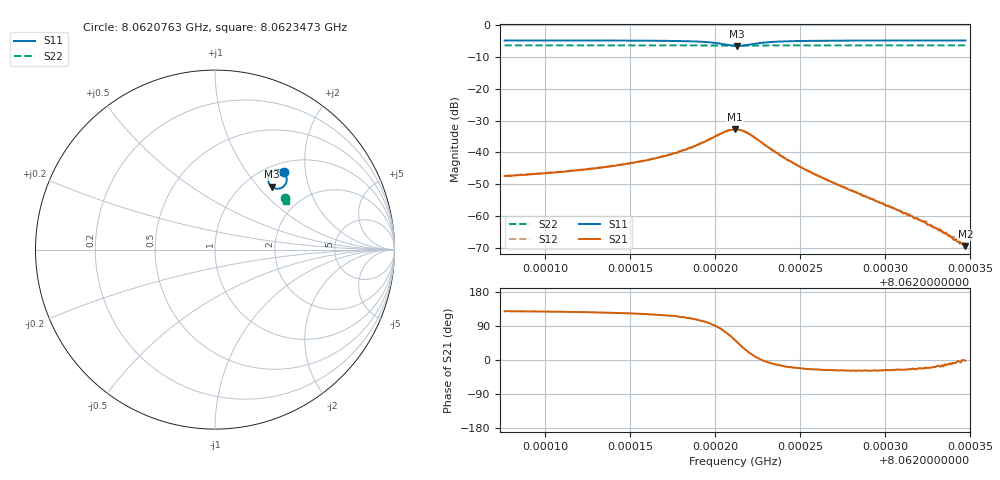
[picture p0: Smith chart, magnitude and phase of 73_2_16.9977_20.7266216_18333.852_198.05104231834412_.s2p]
#  HZ  S  RI  R  50.00
! Rohde & Schwarz Vector Network Analyzer
! Rohde-Schwarz,ZNB20-2Port,1311601062101988,3.16
! Created: UTC 3/20/2024, 10:55:18 PM
! freq[Hz]  re:S11  im:S11  re:S21  im:S21  re:S12  im:S12  re:S22  im:S22
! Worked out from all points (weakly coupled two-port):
!   401 points, 8.0620763 GHz to 8.0623473 GHz, reference 50 ohm
!   highest |S21| = -32.77 dB at 8.0622118 GHz (marker M1); lowest = -69.5 dB at 8.0623473 GHz (marker M2)
!   lowest |S11| = -6.5 dB at 8.0622132 GHz (marker M3), VSWR 2.78, Z = 65.7 + j59.2 ohm
!   |S11| at or under -10 dB: nowhere
!   |S22| runs from -6.4 to -6.3 dB; largest |S21 - S12| = 0.0017
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8.06207629e9  0.3821 0.4301  -0.00265 0.00333  -0.00247 0.00349  0.3883 0.2858
8.06212169e9  0.3877 0.4238  -0.00313 0.00429  -0.00293 0.00452  0.3898 0.2834
8.06215015e9  0.3925 0.4167  -0.00367 0.00564  -0.00338 0.00589  0.3909 0.2817
8.06216709e9  0.3962 0.4087  -0.00406 0.00727  -0.00362 0.00761  0.3914 0.2806
8.06217793e9  0.3986 0.3999  -0.00415 0.009  -0.00364 0.00964  0.3917 0.2797
8.0621847e9  0.3995 0.3916  -0.00417 0.011  -0.00342 0.0112  0.3918 0.279
8.0621969e9  0.3935 0.3663  -0.00184 0.0159  -0.000856 0.0163  0.3916 0.2775
8.06220571e9  0.3646 0.3416  0.00534 0.0202  0.0067 0.0201  0.3903 0.2764
8.0622118e9  0.3236 0.3449  0.0139 0.0183  0.0153 0.0174  0.3888 0.277
8.06221316e9  0.315 0.3507  0.0157 0.0167  0.0171 0.0157  0.3885 0.2773
8.06221587e9  0.302 0.3667  0.0181 0.0128  0.019 0.0116  0.3883 0.278
8.06221926e9  0.2963 0.3897  0.0187 0.00773  0.0192 0.00646  0.3886 0.279
8.06222874e9  0.3147 0.4299  0.0134 -0.000605  0.0135 -0.00129  0.3901 0.28
8.06224297e9  0.3427 0.4418  0.00717 -0.00234  0.00707 -0.00285  0.392 0.2794
8.0622572e9  0.357 0.4413  0.00431 -0.00197  0.00425 -0.00222  0.393 0.2785
8.06226872e9  0.3637 0.4397  0.00307 -0.00153  0.00298 -0.00175  0.3937 0.2776
8.0623026e9  0.3742 0.4351  0.00126 -0.000633  0.0012 -0.000719  0.3951 0.2758
8.06232292e9  0.3779 0.4329  0.000763 -0.000312  0.000741 -0.00033  0.3959 0.2747
8.0623358e9  0.3799 0.4318  0.000535 -0.000126  0.000501 -0.000167  0.3963 0.2739
8.06234393e9  0.3809 0.431  0.000366 -2.8e-05  0.000399 -4.14e-05  0.3966 0.2736
8.06234596e9  0.3811 0.4308  0.00037 -2.37e-06  0.000372 -4.05e-05  0.3966 0.2735
8.06234731e9  0.3813 0.4307  0.000336 -1.09e-05  0.000369 -2.38e-05  0.3966 0.2735
